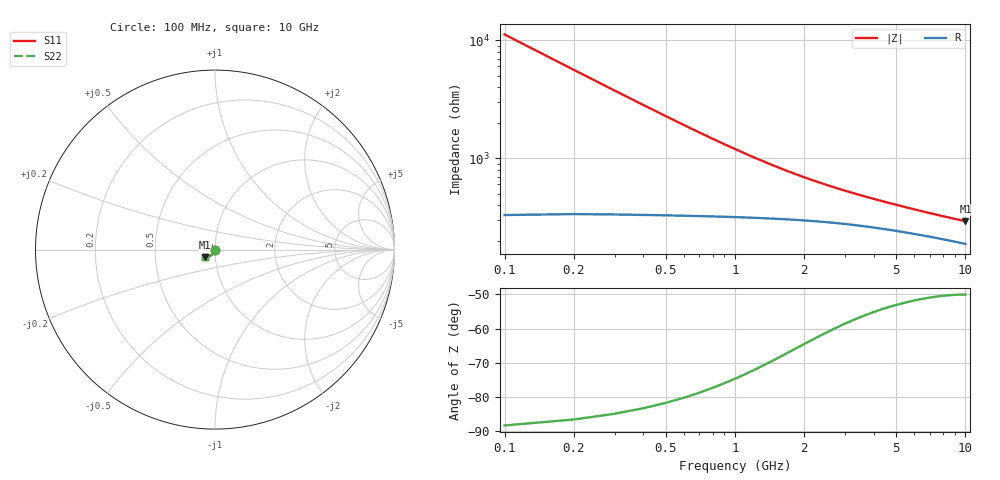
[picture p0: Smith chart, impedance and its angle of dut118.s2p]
! Touchstone file exported from HFSS 2024.1.0
!  File:  C:/UserFiles/LocalFiles/RDL_TSV_Batchsim/temp_TSV1_118_1778752866.aedt
!  Generated:  06:05:02 PM May 14, 2026
!  Design:  TSV1
!  Project:  temp_TSV1_118_1778752866
!  Setup:  Setup1
!  Solution:  Sweep
! Variables:
!  dtsv = 20.66um
!  hbump = 3um
!  htsv = 56.55um
!  lrdl = 252.1521522um
!  p = 40
!  p1 = 51.47um
!  t = 500um
!  trdl = 3um
!  wrdl = 24.89489489um
# GHz S MA R 50.000000
! Terminal data exported
! Port[1] = TSV22_T1
! Port[2] = TSV22_T2
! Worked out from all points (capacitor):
!   100 points, 100 MHz to 10 GHz, reference 50 ohm
!   read as one part in shunt: C = 142 fF near 100 MHz
!   lowest |Z| = 293 ohm at 10 GHz (marker M1)
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0.1  0.002005 -90.1  0.9999 -0.1  0.9999 -0.1  0.002005 -90.1
! Gamma 0 0 0 0
! Port Impedance 50 0 50 0
0.2  0.004006 -93.0  0.9996 -0.3  0.9996 -0.3  0.004006 -93.0
0.3  0.005996 -95.2  0.9993 -0.4  0.9993 -0.4  0.005996 -95.2
0.4  0.007961 -97.1  0.9988 -0.6  0.9988 -0.6  0.007961 -97.1
0.5  0.009892 -99.0  0.9982 -0.7  0.9982 -0.7  0.009892 -99.0
0.6  0.01178 -100.8  0.9975 -0.8  0.9975 -0.8  0.01178 -100.8
0.7  0.01362 -102.5  0.9968 -0.9  0.9968 -0.9  0.01362 -102.5
0.8  0.01541 -104.2  0.9959 -1.0  0.9959 -1.0  0.01541 -104.2
0.9  0.01714 -105.8  0.995 -1.2  0.995 -1.2  0.01714 -105.8
1.1  0.02042 -108.9  0.9931 -1.4  0.9931 -1.4  0.02042 -108.9
1.4  0.02488 -113.1  0.99 -1.6  0.99 -1.6  0.02488 -113.1
1.6  0.02755 -115.5  0.9879 -1.8  0.9879 -1.8  0.02755 -115.5
1.8  0.03 -117.8  0.9859 -1.9  0.9859 -1.9  0.03 -117.8
2.1  0.0333 -120.7  0.9829 -2.1  0.9829 -2.1  0.0333 -120.7
2.5  0.03712 -124.1  0.9792 -2.3  0.9792 -2.3  0.03712 -124.1
2.9  0.0404 -126.8  0.9759 -2.5  0.9759 -2.5  0.0404 -126.8
3.4  0.04395 -129.5  0.9721 -2.7  0.9721 -2.7  0.04395 -129.5
4.2  0.04869 -132.8  0.9671 -3.0  0.9671 -3.0  0.04869 -132.8
5.1  0.05311 -135.6  0.9624 -3.3  0.9624 -3.3  0.05311 -135.6
6.7  0.05936 -139.0  0.9557 -3.8  0.9557 -3.8  0.05936 -139.0
8.4  0.06452 -141.4  0.9502 -4.2  0.9502 -4.2  0.06452 -141.4
10  0.06843 -143.0  0.9462 -4.6  0.9462 -4.6  0.06843 -143.0
